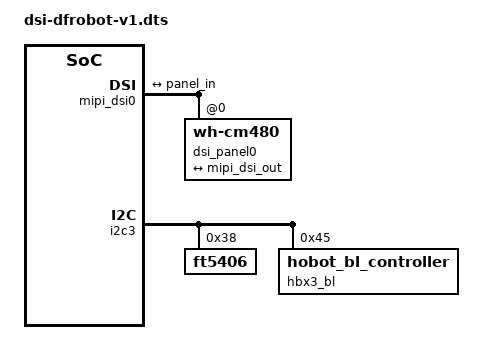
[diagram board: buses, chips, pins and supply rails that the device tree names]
/dts-v1/;
/plugin/;

/ {
    fragment@0 {
        target = <&mipi_dsi0>;
        __overlay__ {
            status = "okay";
            ports {
                port@1 {
                    reg = <1>;
                    mipi_dsi_out: endpoint {
                        remote-endpoint = <&panel_in>;
                    };
                };
            };
            dsi_panel0@0 {
                compatible = "wh-cm480";
                reg = <0>;
                port {
                    panel_in: endpoint {
                        remote-endpoint = <&mipi_dsi_out>;
                    };
                };
            };
        };
    };
    fragment@1 {
        target = <&i2c3>;
        __overlay__ {
            ft5406@38 {
                compatible = "ft5406";
                reg = <0x38>;
            };
            hbx3_bl@45 {
                compatible = "hobot_bl_controller";
                reg = <0x45>;
            };
        };
    };
};
